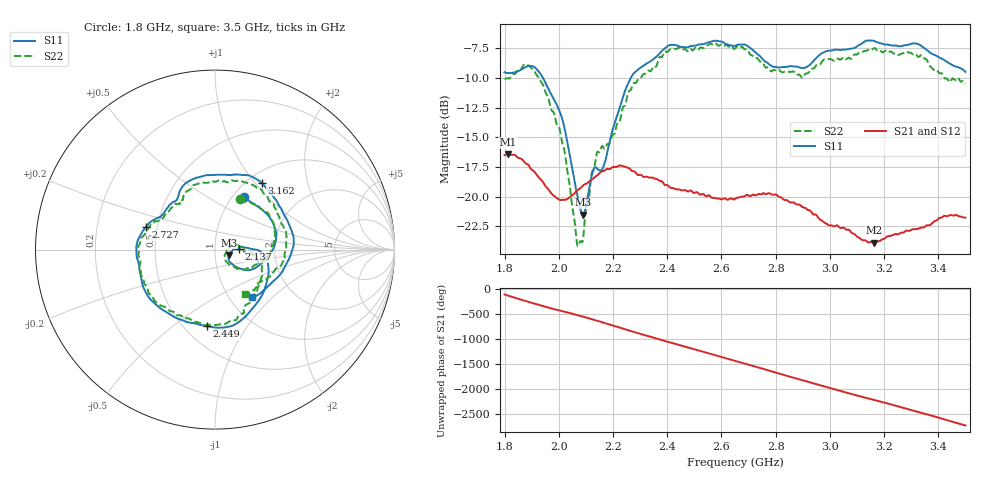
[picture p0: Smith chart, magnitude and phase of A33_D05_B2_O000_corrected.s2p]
! Created with skrf 1.9.0 (http://scikit-rf.org).
# Hz S RI R 50.0
!freq ReS11 ImS11 ReS21 ImS21 ReS12 ImS12 ReS22 ImS22
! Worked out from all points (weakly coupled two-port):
!   1601 points, 1.8 GHz to 3.5 GHz, reference 50 ohm
!   highest |S21| = -16.43 dB at 1.812 GHz (marker M1); lowest = -23.9 dB at 3.163 GHz (marker M2)
!   lowest |S11| = -21.5 dB at 2.09 GHz (marker M3), VSWR 1.18, Z = 58.4 - j3.58 ohm
!   |S11| at or under -10 dB: 1.942 GHz to 2.265 GHz (323 MHz wide, 15.4 % of centre)
!   |S22| runs from -24.2 to -7.1 dB; largest |S21 - S12| = 0.0026
!   S11 on the Smith chart (normalised r, x): 1.8 GHz: 1.13, +0.74; 2.137 GHz: 1.31, +0.01; 2.449 GHz: 0.64, -0.67; 2.727 GHz: 0.43, +0.13; 3.162 GHz: 1.15, +1.08; 3.5 GHz: 1.27, -0.76
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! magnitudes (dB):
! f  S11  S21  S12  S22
! 1.8 GHz  -9.5  -16.5  -16.5  -10.1
! 1.812 GHz  -9.6  -16.4  -16.4  -10.0
! 1.885 GHz  -9.0  -17.3  -17.3  -8.9
! 1.94 GHz  -9.9  -18.7  -18.7  -10.5
! 2.013 GHz  -13.4  -20.3  -20.3  -15.5
! 2.066 GHz  -19.6  -19.5  -19.5  -23.7
! 2.084 GHz  -21.4  -19.2  -19.2  -23.8
! 2.09 GHz  -21.5  -19.1  -19.1  -23.5
! 2.137 GHz  -17.5  -18.3  -18.3  -16.7
! 2.166 GHz  -17.4  -17.8  -17.8  -15.9
! 2.265 GHz  -10.0  -17.7  -17.7  -11.0
! 2.367 GHz  -8.0  -18.6  -18.6  -8.4
! 2.449 GHz  -7.4  -19.4  -19.4  -7.5
! 2.65 GHz  -7.3  -20.2  -20.2  -7.5
! 2.727 GHz  -7.9  -19.9  -19.9  -8.3
! 2.798 GHz  -9.1  -19.8  -19.8  -9.3
! 2.934 GHz  -8.7  -21.4  -21.3  -9.2
! 3.162 GHz  -6.9  -23.9  -23.8  -7.5
! 3.163 GHz  -6.9  -23.9  -23.9  -7.5
! 3.217 GHz  -7.2  -23.3  -23.3  -7.8
! 3.324 GHz  -7.1  -22.7  -22.7  -8.2
! 3.5 GHz  -9.5  -21.8  -21.8  -10.5
